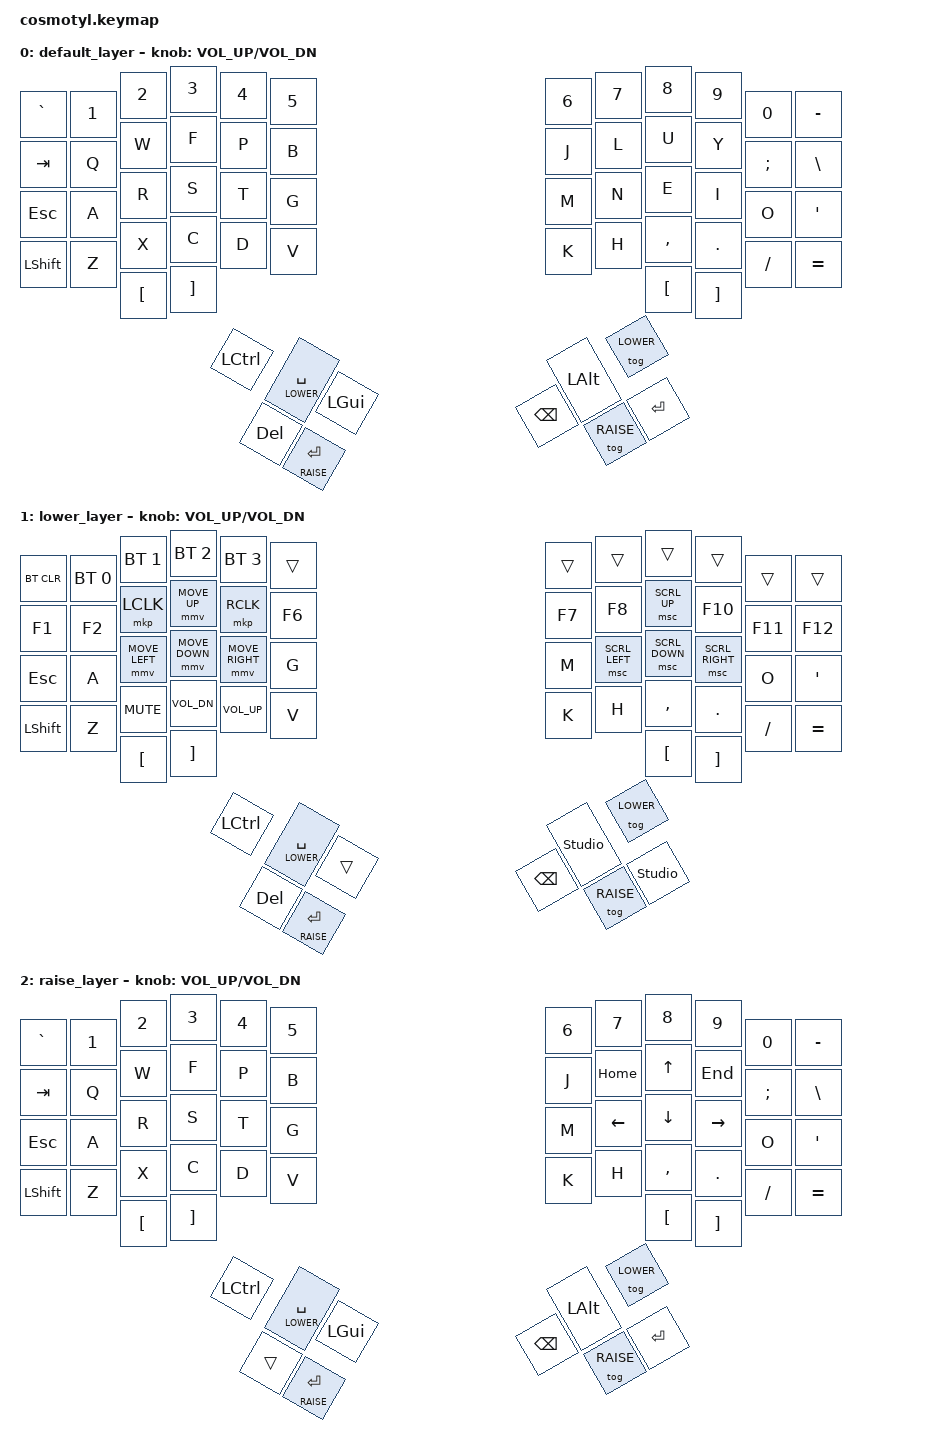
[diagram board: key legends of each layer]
/*
 * Copyright (c) 2020 The ZMK Contributors
 *
 * SPDX-License-Identifier: MIT
 */


#include <behaviors.dtsi>
#include <dt-bindings/zmk/keys.h>
#include <dt-bindings/zmk/bt.h>
#include <dt-bindings/zmk/ext_power.h>
#include <dt-bindings/zmk/mouse.h>



#define DEFAULT 0
#define LOWER   1
#define RAISE   2

/ {
    keymap {
        compatible = "zmk,keymap";

        default_layer {
// ------------------------------------------------------------------------------------------------------------
// |  ESC  |  1  |  2  |  3   |  4   |  5   |                   |  6   |  7    |  8    |  9   |   0   |   `   |
// |  TAB  |  Q  |  W  |  E   |  R   |  T   |                   |  Y   |  U    |  I    |  O   |   P   |   -   |
// |  CTRL |  A  |  S  |  D   |  F   |  G   |                   |  H   |  J    |  K    |  L   |   ;   |   '   |
// | SHIFT |  Z  |  X  |  C   |  V   |  B   |   "["  |  |  "]"  |  N   |  M    |  ,    |  .   |   /   | SHIFT |
//                     | ALT  | GUI  | LOWER|  SPACE |  | ENTER | RAISE| BSPC  | GUI   |

// RC(1,0) RC(1,1) RC(0,2) RC(0,3) RC(0,4) RC(0,5)                                 RC(0,6) RC(0,7) RC(0,8) RC(0,9) RC(1,10) RC(1,11)
// RC(2,0) RC(2,1) RC(1,2) RC(1,3) RC(1,4) RC(1,5)                                 RC(1,6) RC(1,7) RC(1,8) RC(1,9) RC(2,10) RC(2,11)                
// RC(3,0) RC(3,1) RC(2,2) RC(2,3) RC(2,4) RC(2,5)                                 RC(2,6) RC(2,7) RC(2,8) RC(2,9) RC(3,10) RC(3,11)
// RC(4,0) RC(4,1) RC(3,2) RC(3,3) RC(3,4) RC(3,5)                                 RC(3,6) RC(3,7) RC(3,8) RC(3,9) RC(4,10) RC(4,11)
//                 RC(4,2) RC(4,3)                                                                 RC(4,8) RC(4,9) 
//                          RC(5,3) RC(5,4) RC(5,5)                                RC(5,6) RC(5,7) RC(5,8)
//                                  RC(6,4) RC(6,5)                                RC(6,6) RC(6,7)
            bindings = <
&kp GRAVE &kp N1   &kp N2 &kp N3   &kp N4   &kp N5                                  &kp N6 &kp N7   &kp N8    &kp N9  &kp N0     &kp MINUS
&kp TAB   &kp Q  &kp W  &kp F    &kp P    &kp B                                     &kp J  &kp L    &kp U     &kp Y   &kp SEMI   &kp BSLH
&kp ESC   &kp A  &kp R  &kp S    &kp T    &kp G                                     &kp M  &kp N    &kp E     &kp I   &kp O      &kp SQT
&kp LSHFT &kp Z  &kp X  &kp C    &kp D    &kp V                                     &kp K  &kp H    &kp COMMA &kp DOT &kp FSLH   &kp EQUAL
                 &kp LBKT  &kp RBKT                                                                &kp LBKT  &kp RBKT
                        &kp LCTRL &lt LOWER SPACE &kp LGUI                          &kp DEL &lt RAISE RET  &kp BSPC
                                 &kp LALT  &tog LOWER                               &tog RAISE &kp RET

            >;

            sensor-bindings = <&inc_dec_kp C_VOL_UP C_VOL_DN>;
        };

        lower_layer {
// ------------------------------------------------------------------------------------------------------------
// | BTCLR | BT1 | BT2 |  BT3 |  BT4 |  BT5 |                   |      |       |       |      |       |       |
// |  F1   |  F2 |  F3 |  F4  |  F5  |  F6  |                   |  F7  |  F8   |  F9   |  F10 |  F11  |  F12  |
// |   `   |  !  |  @  |  #   |  $   |  %   |                   |  ^   |  &    |  *    |  (   |   )   |   ~   |
// |       |     |     |      |      |      |        |  |       |      |  _    |  +    |  {   |   }   |  "|"  |
//                     |      |      |      |        |  |       |      |       |       |
            bindings = <
&bt BT_CLR &bt BT_SEL 0  &bt BT_SEL 1  &bt BT_SEL 2   &bt BT_SEL 3 &trans                 &trans    &trans    &trans    &trans    &trans    &trans
&kp F1  &kp F2  &mkp LCLK  &mmv MOVE_UP  &mkp RCLK       &kp F6                                 &kp F7    &kp F8    &msc SCRL_UP    &kp F10   &kp F11   &kp F12
&kp ESC   &kp A  &mmv MOVE_LEFT &mmv MOVE_DOWN  &mmv MOVE_RIGHT &kp G                           &kp M  &msc SCRL_LEFT &msc SCRL_DOWN &msc SCRL_RIGHT   &kp O      &kp SQT
&kp LSHFT &kp Z  &kp C_MUTE  &kp C_VOL_DN    &kp C_VOL_UP    &kp V                              &kp K  &kp H    &kp COMMA &kp DOT &kp FSLH   &kp EQUAL
                 &kp LBKT  &kp RBKT                                                                             &kp LBKT  &kp RBKT
                        &kp LCTRL &lt LOWER SPACE &trans                                   &kp DEL &lt RAISE RET  &kp BSPC
                                 &studio_unlock  &tog LOWER                                     &tog RAISE &studio_unlock
            >;

            sensor-bindings = <&inc_dec_kp C_VOL_UP C_VOL_DN>;
        };

        raise_layer {
// ------------------------------------------------------------------------------------------------------------
// |       |     |     |      |      |      |                   |      |       |       |      |       |       |
// |   `   |  1  |  2  |  3   |  4   |  5   |                   |  6   |   7   |   8   |  9   |   0   |       |
// |   F1  |  F2 |  F3 |  F4  |  F5  |  F6  |                   |      |   <-  |   v   |  ^   |  ->   |       |
// |   F7  |  F8 |  F9 |  F10 |  F11 |  F12 |        |  |       |  +   |   -   |   =   |  [   |   ]   |   \   |
//                     |      |      |      |        |  |       |      |       |       |
            bindings = <
// &trans    &trans &trans &trans  &trans  &trans                       &trans      &trans    &trans    &trans   &trans    &trans
// &kp GRAVE &kp N1 &kp N2 &kp N3  &kp N4  &kp N5                       &kp N6      &kp N7    &kp N8    &kp N9   &kp N0    &trans
// &kp F1    &kp F2 &kp F3 &kp F4  &kp F5  &kp F6                       &trans      &kp LEFT  &kp DOWN  &kp UP   &kp RIGHT &trans
// &kp F7    &kp F8 &kp F9 &kp F10 &kp F11 &kp F12   &trans   &trans    &kp KP_PLUS &kp MINUS &kp EQUAL &kp LBKT &kp RBKT  &kp BSLH
//                         &trans  &trans  &trans    &trans   &trans    &trans      &trans    &trans
&kp GRAVE &kp N1   &kp N2 &kp N3   &kp N4   &kp N5                                  &kp N6 &kp N7   &kp N8    &kp N9  &kp N0     &kp MINUS
&kp TAB   &kp Q  &kp W  &kp F    &kp P    &kp B                                     &kp J  &kp HOME    &kp UP     &kp END   &kp SEMI   &kp BSLH
&kp ESC   &kp A  &kp R  &kp S    &kp T    &kp G                                     &kp M  &kp LEFT    &kp DOWN     &kp RIGHT   &kp O      &kp SQT
&kp LSHFT &kp Z  &kp X  &kp C    &kp D    &kp V                                     &kp K  &kp H    &kp COMMA &kp DOT &kp FSLH   &kp EQUAL
                 &kp LBKT  &kp RBKT                                                                &kp LBKT  &kp RBKT
                        &kp LCTRL &lt LOWER SPACE &kp LGUI                          &trans &lt RAISE RET  &kp BSPC
                                 &kp LALT  &tog LOWER                               &tog RAISE &kp RET

            >;

            sensor-bindings = <&inc_dec_kp C_VOL_UP C_VOL_DN>;
        };
    };
};
